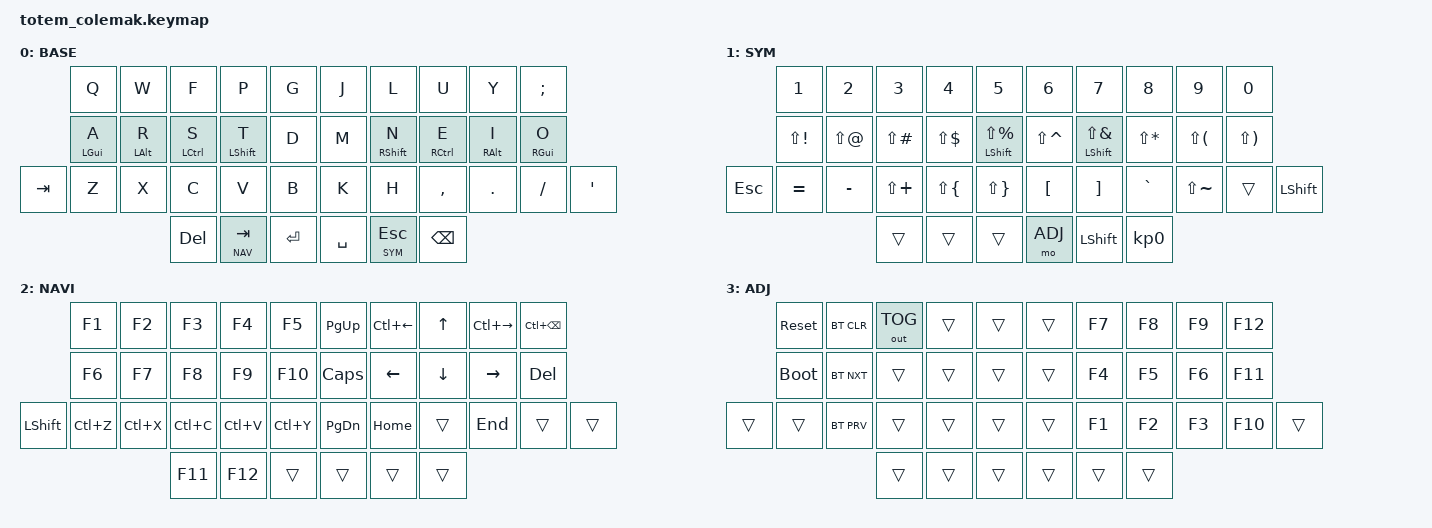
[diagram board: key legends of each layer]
//
//                                                        ▀▀▀▀▀     ▀▀▀▀▀          ▀▀█▀▀
//                                                        ▄▀▀▀▄  ▄  ▄▀▀▀▄  ▄  ▄▀▀▀▄  █  ▄▀▀▀▄
//                                                        █   █  █  █   █  █  █   █  █  █   █
//                                                         ▀▀▀   █   ▀▀▀   █   ▀▀▀   ▀   ▀▀▀
//                                                               █      ▄▄▄█▄▄▄    █   █  
//                                                               ▀      █  █  █     █▄█
//                                                             ▀▀▀▀▀    █  █  █      ▀
//                                                                      ▀  ▀  ▀
//
// ▄▄▄▄▄▄▄▄▄▄▄▄▄▄▄▄▄▄▄▄▄▄▄▄▄▄▄▄▄▄▄▄▄▄▄▄▄▄▄▄▄▄▄▄▄▄▄▄▄▄▄▄▄▄▄▄▄▄▄▄▄▄▄▄▄▄▄▄▄▄▄▄▄▄▄▄▄▄▄▄▄▄▄▄▄▄▄▄▄▄▄▄▄▄▄▄▄▄▄▄▄▄▄▄▄▄▄▄▄▄▄▄▄▄▄▄▄▄▄▄▄▄▄▄▄▄▄▄▄▄▄▄▄▄▄▄▄▄▄▄▄▄▄▄▄▄▄▄▄
       

#include <behaviors.dtsi>
#include <dt-bindings/zmk/keys.h>
#include <dt-bindings/zmk/bt.h>
#include <dt-bindings/zmk/outputs.h>

#define BASE 0
#define NAV  1
#define SYM  2
#define ADJ  3

&mt {
  quick-tap-ms = <100>;
  global-quick-tap;
  flavor = "tap-preferred";
  tapping-term-ms = <170>;
};

/ {
     combos {
            compatible = "zmk,combos";
            combo_esc {
                timeout-ms = <50>;
                key-positions = <0 1>;
                bindings = <&kp ESC>;
            };
            delete {
                timeout-ms = <50>;
                bindings = <&kp BACKSPACE>;
                key-positions = <19 18>;
            };
    };

    macros {
        gif: gif {
            label = "giphy";
            compatible = "zmk,behavior-macro";
            #binding-cells = <0>;
            bindings
                = <&macro_press &kp LSHFT>
                , <&macro_tap &kp N2>
                , <&macro_release &kp LSHFT>
                , <&macro_tap &kp G &kp I &kp F>
                ;
        };
    };

        keymap {
                compatible = "zmk,keymap";
// ▄▄▄▄▄▄▄▄▄▄▄▄▄▄▄▄▄▄▄▄▄▄▄▄▄▄▄▄▄▄▄▄▄▄▄▄▄▄▄▄▄▄▄▄▄▄▄▄▄▄▄▄▄▄▄▄▄▄▄▄▄▄▄▄▄▄▄▄▄▄▄▄▄▄▄▄▄▄▄▄▄▄▄▄▄▄▄▄▄▄▄▄▄▄▄▄▄▄▄▄▄▄▄▄▄▄▄▄▄▄▄▄▄▄▄▄▄▄▄▄▄▄▄▄▄▄▄▄▄▄▄▄▄▄▄▄▄▄▄▄▄▄▄▄▄▄▄▄▄

                base_layer {
// ┏━━━━━━━━━━━━━━━━━━━━━━━━━━━━━━━━━━━━━━━┓
label= "BASE"                              ;
// ┗━━━━━━━━━━━━━━━━━━━━━━━━━━━━━━━━━━━━━━━┛
//             ┏━━━━━━━━━━━┳━━━━━━━━━━━┳━━━━━━━━━━━┳━━━━━━━━━━━┳━━━━━━━━━━━┓   ┏━━━━━━━━━━━┳━━━━━━━━━━━┳━━━━━━━━━━━┳━━━━━━━━━━━┳━━━━━━━━━━━┓
//             ┃     Q     ┃     W     ┃     F     ┃     P     ┃     G     ┃   ┃     J     ┃     L     ┃     U     ┃     Y     ┃     ;     ┃
//             ┣━━━━━━━━━━━╋━━━━━━━━━━━╋━━━━━━━━━━━╋━━━━━━━━━━━╋━━━━━━━━━━━┫   ┣━━━━━━━━━━━╋━━━━━━━━━━━╋━━━━━━━━━━━╋━━━━━━━━━━━╋━━━━━━━━━━━┫
//             ┃     A     ┃     R     ┃     S     ┃     T     ┃     D     ┃   ┃     M     ┃     N     ┃     E     ┃     I     ┃     O     ┃
// ┏━━━━━━━━━━━╋━━━━━━━━━━━╋━━━━━━━━━━━╋━━━━━━━━━━━╋━━━━━━━━━━━╋━━━━━━━━━━━┫   ┣━━━━━━━━━━━╋━━━━━━━━━━━╋━━━━━━━━━━━╋━━━━━━━━━━━╋━━━━━━━━━━━╋━━━━━━━━━━━┓
// ┃     TAB   ┃     Z     ┃     X     ┃     C     ┃     V     ┃     B     ┃   ┃     K     ┃     H     ┃     ,     ┃     .     ┃     /     ┃     '     ┃
// ┗━━━━━━━━━━━┻━━━━━━━━━━━┻━━━━━━━━━━━╋━━━━━━━━━━━╋━━━━━━━━━━━╋━━━━━━━━━━━┫   ┣━━━━━━━━━━━╋━━━━━━━━━━━╋━━━━━━━━━━━╋━━━━━━━━━━━┻━━━━━━━━━━━┻━━━━━━━━━━━┛
//                                     ┃    DEL    ┃    TAB    ┃    ENTER  ┃   ┃   SPC     ┃    ESC    ┃   BSPC    ┃
//                                     ┗━━━━━━━━━━━┻━━━━━━━━━━━┻━━━━━━━━━━━┛   ┗━━━━━━━━━━━┻━━━━━━━━━━━┻━━━━━━━━━━━┛
 bindings = <
// ╷           ╷           ╷           ╷           ╷           ╷           ╷   ╷           ╷           ╷           ╷           ╷           ╷           ╷

                &kp Q       &kp W       &kp F       &kp P       &kp G           &kp J       &kp L       &kp U       &kp Y       &kp SEMI
                &mt LGUI A  &mt LALT R  &mt LCTRL S &mt LSHFT T &kp D           &kp M       &mt RSHFT N &mt RCTRL E &mt RALT I  &mt RGUI O
    &kp TAB     &kp Z       &kp X       &kp C       &kp V       &kp B           &kp K       &kp H       &kp COMMA   &kp DOT     &kp FSLH    &kp SQT
                                        &kp DEL     &lt NAV TAB &kp RET         &kp SPACE   &lt SYM ESC &kp BSPC
                        >;
                };

// ▄▄▄▄▄▄▄▄▄▄▄▄▄▄▄▄▄▄▄▄▄▄▄▄▄▄▄▄▄▄▄▄▄▄▄▄▄▄▄▄▄▄▄▄▄▄▄▄▄▄▄▄▄▄▄▄▄▄▄▄▄▄▄▄▄▄▄▄▄▄▄▄▄▄▄▄▄▄▄▄▄▄▄▄▄▄▄▄▄▄▄▄▄▄▄▄▄▄▄▄▄▄▄▄▄▄▄▄▄▄▄▄▄▄▄▄▄▄▄▄▄▄▄▄▄▄▄▄▄▄▄▄▄▄▄▄▄▄▄▄▄▄▄▄▄▄▄▄▄


                sim_layer {
// ┏━━━━━━━━━━━━━━━━━━━━━━━━━━━━━━━━━━━━━━━┓
label= "SYM"                              ;
// ┗━━━━━━━━━━━━━━━━━━━━━━━━━━━━━━━━━━━━━━━┛
//             ┏━━━━━━━━━━━┳━━━━━━━━━━━┳━━━━━━━━━━━┳━━━━━━━━━━━┳━━━━━━━━━━━┓   ┏━━━━━━━━━━━┳━━━━━━━━━━━┳━━━━━━━━━━━┳━━━━━━━━━━━┳━━━━━━━━━━━┓
//             ┃     1     ┃     2     ┃     3     ┃     4     ┃     5     ┃   ┃     6     ┃     7     ┃     8     ┃     9     ┃     0     ┃
//             ┣━━━━━━━━━━━╋━━━━━━━━━━━╋━━━━━━━━━━━╋━━━━━━━━━━━╋━━━━━━━━━━━┫   ┣━━━━━━━━━━━╋━━━━━━━━━━━╋━━━━━━━━━━━╋━━━━━━━━━━━╋━━━━━━━━━━━┫
//             ┃     !     ┃     @     ┃     #     ┃     $     ┃     %     ┃   ┃     ^     ┃     &     ┃     *     ┃     (     ┃     )     ┃
// ┏━━━━━━━━━━━╋━━━━━━━━━━━╋━━━━━━━━━━━╋━━━━━━━━━━━╋━━━━━━━━━━━╋━━━━━━━━━━━┫   ┣━━━━━━━━━━━╋━━━━━━━━━━━╋━━━━━━━━━━━╋━━━━━━━━━━━╋━━━━━━━━━━━╋━━━━━━━━━━━┓
// ┃    ESC    ┃     =     ┃     -     ┃     +     ┃     {     ┃     }     ┃   ┃     [     ┃     ]     ┃           ┃           ┃     \     ┃   LSHFT   ┃
// ┗━━━━━━━━━━━┻━━━━━━━━━━━┻━━━━━━━━━━━╋━━━━━━━━━━━╋━━━━━━━━━━━╋━━━━━━━━━━━┫   ┣━━━━━━━━━━━╋━━━━━━━━━━━╋━━━━━━━━━━━╋━━━━━━━━━━━┻━━━━━━━━━━━┻━━━━━━━━━━━┛
//                                     ┃           ┃           ┃           ┃   ┃    ADJ    ┃  LAYER 3  ┃     0     ┃
//                                     ┗━━━━━━━━━━━┻━━━━━━━━━━━┻━━━━━━━━━━━┛   ┗━━━━━━━━━━━┻━━━━━━━━━━━┻━━━━━━━━━━━┛
 bindings = <
// ╷           ╷           ╷            ╷              ╷           ╷           ╷   ╷           ╷           ╷           ╷           ╷           ╷           ╷

                &kp N1        &kp N2      &kp N3         &kp N4        &kp N5           &kp N6         &kp N7        &kp N8        &kp N9        &kp N0
                &kp LS(EXCL)  &kp LS(AT)  &kp LS(POUND)  &kp LS(DLLR)  &mt LSHFT LS(PRCNT)    &kp LS(CARET)  &mt LSHFT LS(AMPS)  &kp LS(STAR)  &kp LS(LPAR)  &kp LS(RPAR)
    &kp ESCAPE  &kp EQUAL     &kp MINUS   &kp LS(PLUS)   &kp LS(LBRC)  &kp LS(RBRC)     &kp LBKT       &kp RBKT      &kp GRAVE     &kp LS(TILDE) &trans        &kp LSHFT
                                          &trans         &trans        &trans           &mo ADJ        &kp LSHFT     &kp KP_N0     
                        >;
                };



// ▄▄▄▄▄▄▄▄▄▄▄▄▄▄▄▄▄▄▄▄▄▄▄▄▄▄▄▄▄▄▄▄▄▄▄▄▄▄▄▄▄▄▄▄▄▄▄▄▄▄▄▄▄▄▄▄▄▄▄▄▄▄▄▄▄▄▄▄▄▄▄▄▄▄▄▄▄▄▄▄▄▄▄▄▄▄▄▄▄▄▄▄▄▄▄▄▄▄▄▄▄▄▄▄▄▄▄▄▄▄▄▄▄▄▄▄▄▄▄▄▄▄▄▄▄▄▄▄▄▄▄▄▄▄▄▄▄▄▄▄▄▄▄▄▄▄▄▄▄


                nav_layer {
// ┏━━━━━━━━━━━━━━━━━━━━━━━━━━━━━━━━━━━━━━━┓
label= "NAVI"                               ;
// ┗━━━━━━━━━━━━━━━━━━━━━━━━━━━━━━━━━━━━━━━┛
//             ┏━━━━━━━━━━━┳━━━━━━━━━━━┳━━━━━━━━━━━┳━━━━━━━━━━━┳━━━━━━━━━━━┓   ┏━━━━━━━━━━━┳━━━━━━━━━━━┳━━━━━━━━━━━┳━━━━━━━━━━━┳━━━━━━━━━━━┓
//             ┃     F1    ┃           ┃           ┃           ┃           ┃   ┃           ┃           ┃           ┃           ┃           ┃
//             ┣━━━━━━━━━━━╋━━━━━━━━━━━╋━━━━━━━━━━━╋━━━━━━━━━━━╋━━━━━━━━━━━┫   ┣━━━━━━━━━━━╋━━━━━━━━━━━╋━━━━━━━━━━━╋━━━━━━━━━━━╋━━━━━━━━━━━┫
//             ┃           ┃           ┃           ┃           ┃           ┃   ┃           ┃           ┃           ┃           ┃           ┃
// ┏━━━━━━━━━━━╋━━━━━━━━━━━╋━━━━━━━━━━━╋━━━━━━━━━━━╋━━━━━━━━━━━╋━━━━━━━━━━━┫   ┣━━━━━━━━━━━╋━━━━━━━━━━━╋━━━━━━━━━━━╋━━━━━━━━━━━╋━━━━━━━━━━━╋━━━━━━━━━━━┓
// ┃           ┃           ┃           ┃           ┃           ┃           ┃   ┃           ┃           ┃           ┃           ┃           ┃           ┃
// ┗━━━━━━━━━━━┻━━━━━━━━━━━┻━━━━━━━━━━━╋━━━━━━━━━━━╋━━━━━━━━━━━╋━━━━━━━━━━━┫   ┣━━━━━━━━━━━╋━━━━━━━━━━━╋━━━━━━━━━━━╋━━━━━━━━━━━┻━━━━━━━━━━━┻━━━━━━━━━━━┛
//                                     ┃           ┃           ┃           ┃   ┃           ┃           ┃           ┃
//                                     ┗━━━━━━━━━━━┻━━━━━━━━━━━┻━━━━━━━━━━━┛   ┗━━━━━━━━━━━┻━━━━━━━━━━━┻━━━━━━━━━━━┛
 bindings = <
// ╷           ╷           ╷           ╷           ╷           ╷           ╷   ╷           ╷           ╷           ╷           ╷           ╷           ╷

                &kp F1     &kp F2     &kp F3     &kp F4     &kp F5               &kp PG_UP   &kp LC(LEFT) &kp UP    &kp LC(RIGHT)  &kp LC(BSPC)
                &kp F6     &kp F7     &kp F8     &kp F9     &kp F10              &kp CAPS    &kp LEFT     &kp DOWN  &kp RIGHT      &kp DEL
      &kp LSHFT &kp LC(Z)  &kp LC(X)  &kp LC(C)  &kp LC(V)  &kp LC(Y)            &kp PG_DN   &kp HOME     &trans    &kp END        &trans      &trans
                                      &kp F11    &kp F12    &trans               &trans      &trans       &trans
            >;
                };

// ▄▄▄▄▄▄▄▄▄▄▄▄▄▄▄▄▄▄▄▄▄▄▄▄▄▄▄▄▄▄▄▄▄▄▄▄▄▄▄▄▄▄▄▄▄▄▄▄▄▄▄▄▄▄▄▄▄▄▄▄▄▄▄▄▄▄▄▄▄▄▄▄▄▄▄▄▄▄▄▄▄▄▄▄▄▄▄▄▄▄▄▄▄▄▄▄▄▄▄▄▄▄▄▄▄▄▄▄▄▄▄▄▄▄▄▄▄▄▄▄▄▄▄▄▄▄▄▄▄▄▄▄▄▄▄▄▄▄▄▄▄▄▄▄▄▄▄▄▄


                adjust_layer {
// ┏━━━━━━━━━━━━━━━━━━━━━━━━━━━━━━━━━━━━━━━┓
label= "ADJ"                               ;
// ┗━━━━━━━━━━━━━━━━━━━━━━━━━━━━━━━━━━━━━━━┛
//             ┏━━━━━━━━━━━┳━━━━━━━━━━━┳━━━━━━━━━━━┳━━━━━━━━━━━┳━━━━━━━━━━━┓   ┏━━━━━━━━━━━┳━━━━━━━━━━━┳━━━━━━━━━━━┳━━━━━━━━━━━┳━━━━━━━━━━━┓
//             ┃   RESET   ┃ BT CLEAR  ┃  OUT TOG  ┃           ┃           ┃   ┃           ┃    F7     ┃    F8     ┃    F9     ┃    F12    ┃
//             ┣━━━━━━━━━━━╋━━━━━━━━━━━╋━━━━━━━━━━━╋━━━━━━━━━━━╋━━━━━━━━━━━┫   ┣━━━━━━━━━━━╋━━━━━━━━━━━╋━━━━━━━━━━━╋━━━━━━━━━━━╋━━━━━━━━━━━┫
//             ┃ BOOTLOAD  ┃ BT NEXT   ┃           ┃           ┃           ┃   ┃           ┃    F4     ┃    F5     ┃    F6     ┃    F11    ┃
// ┏━━━━━━━━━━━╋━━━━━━━━━━━╋━━━━━━━━━━━╋━━━━━━━━━━━╋━━━━━━━━━━━╋━━━━━━━━━━━┫   ┣━━━━━━━━━━━╋━━━━━━━━━━━╋━━━━━━━━━━━╋━━━━━━━━━━━╋━━━━━━━━━━━╋━━━━━━━━━━━┓
// ┃           ┃           ┃ BT PREV   ┃           ┃           ┃           ┃   ┃           ┃    F1     ┃    F2     ┃    F3     ┃    F10    ┃           ┃
// ┗━━━━━━━━━━━┻━━━━━━━━━━━┻━━━━━━━━━━━╋━━━━━━━━━━━╋━━━━━━━━━━━╋━━━━━━━━━━━┫   ┣━━━━━━━━━━━╋━━━━━━━━━━━╋━━━━━━━━━━━╋━━━━━━━━━━━┻━━━━━━━━━━━┻━━━━━━━━━━━┛
//                                     ┃           ┃           ┃           ┃   ┃           ┃           ┃           ┃
//                                     ┗━━━━━━━━━━━┻━━━━━━━━━━━┻━━━━━━━━━━━┛   ┗━━━━━━━━━━━┻━━━━━━━━━━━┻━━━━━━━━━━━┛
 bindings = <
// ╷           ╷           ╷           ╷           ╷           ╷           ╷   ╷           ╷           ╷           ╷           ╷           ╷           ╷

                &sys_reset  &bt BT_CLR &out OUT_TOG &trans      &trans          &trans      &kp F7      &kp F8      &kp F9      &kp F12
                &bootloader &bt BT_NXT  &trans      &trans      &trans          &trans      &kp F4      &kp F5      &kp F6      &kp F11  
    &trans      &trans      &bt BT_PRV  &trans      &trans      &trans          &trans      &kp F1      &kp F2      &kp F3      &kp F10     &trans         
                                        &trans      &trans      &trans          &trans      &trans      &trans      
                        >;
                };
        };
};


